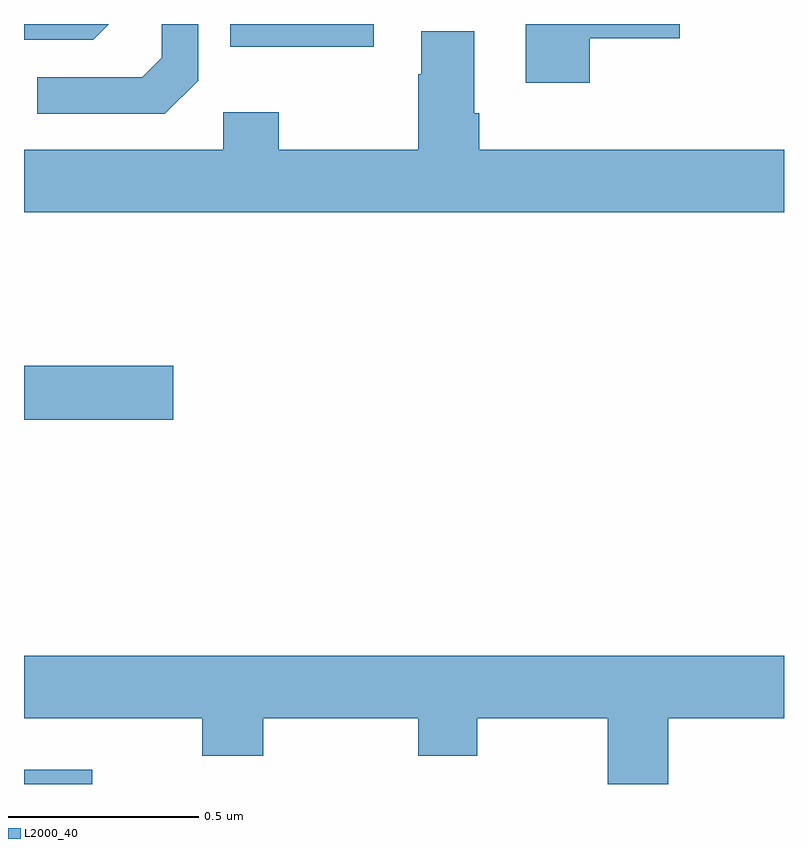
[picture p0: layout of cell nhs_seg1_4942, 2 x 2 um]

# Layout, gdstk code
import gdstk
lib = gdstk.Library(unit=1e-6, precision=1e-09)
def R(c, l, rs):  # rectangles x0, y0, x1, y1
    for r in rs: c.add(gdstk.rectangle(r[:2], r[2:], *l))
def P(c, l, *ps):  # polygons
    for p in ps: c.add(gdstk.Polygon(p, *l))
L2000_40 = (2000, 40)

nhs_seg1_4942 = lib.new_cell('nhs_seg1_4942')
R(nhs_seg1_4942, L2000_40, [(172,578.199,172.18,578.236), (172,579.158,172.393,579.3), (172.543,580.139,172.921,580.199)])
P(nhs_seg1_4942, L2000_40, [(172.458,580.05),(172.458,580.199),(172.362,580.199),(172.362,580.11),(172.311,580.059),(172.035,580.059),(172.035,579.963),(172.371,579.963)],
  [(172.223,580.199),(172,580.199),(172,580.158),(172.182,580.158)],
  [(173.489,580.162),(173.725,580.162),(173.725,580.199),(173.321,580.199),(173.321,580.044),(173.489,580.044)],
  [(174,579.868),(173.198,579.868),(173.198,579.964),(173.185,579.964),(173.185,580.18),(173.045,580.18),(173.045,580.067),(173.038,580.067),(173.038,579.868),(172.671,579.868),(172.671,579.967),(172.524,579.967),(172.524,579.868),(172,579.868),(172,579.704),(174,579.704)],
  [(173.696,578.372),(174,578.372),(174,578.536),(172,578.536),(172,578.372),(172.469,578.372),(172.469,578.273),(172.629,578.273),(172.629,578.372),(173.038,578.372),(173.038,578.273),(173.193,578.273),(173.193,578.372),(173.536,578.372),(173.536,578.199),(173.696,578.199)])

lib.write_gds('nhs_seg1_4942.gds')
